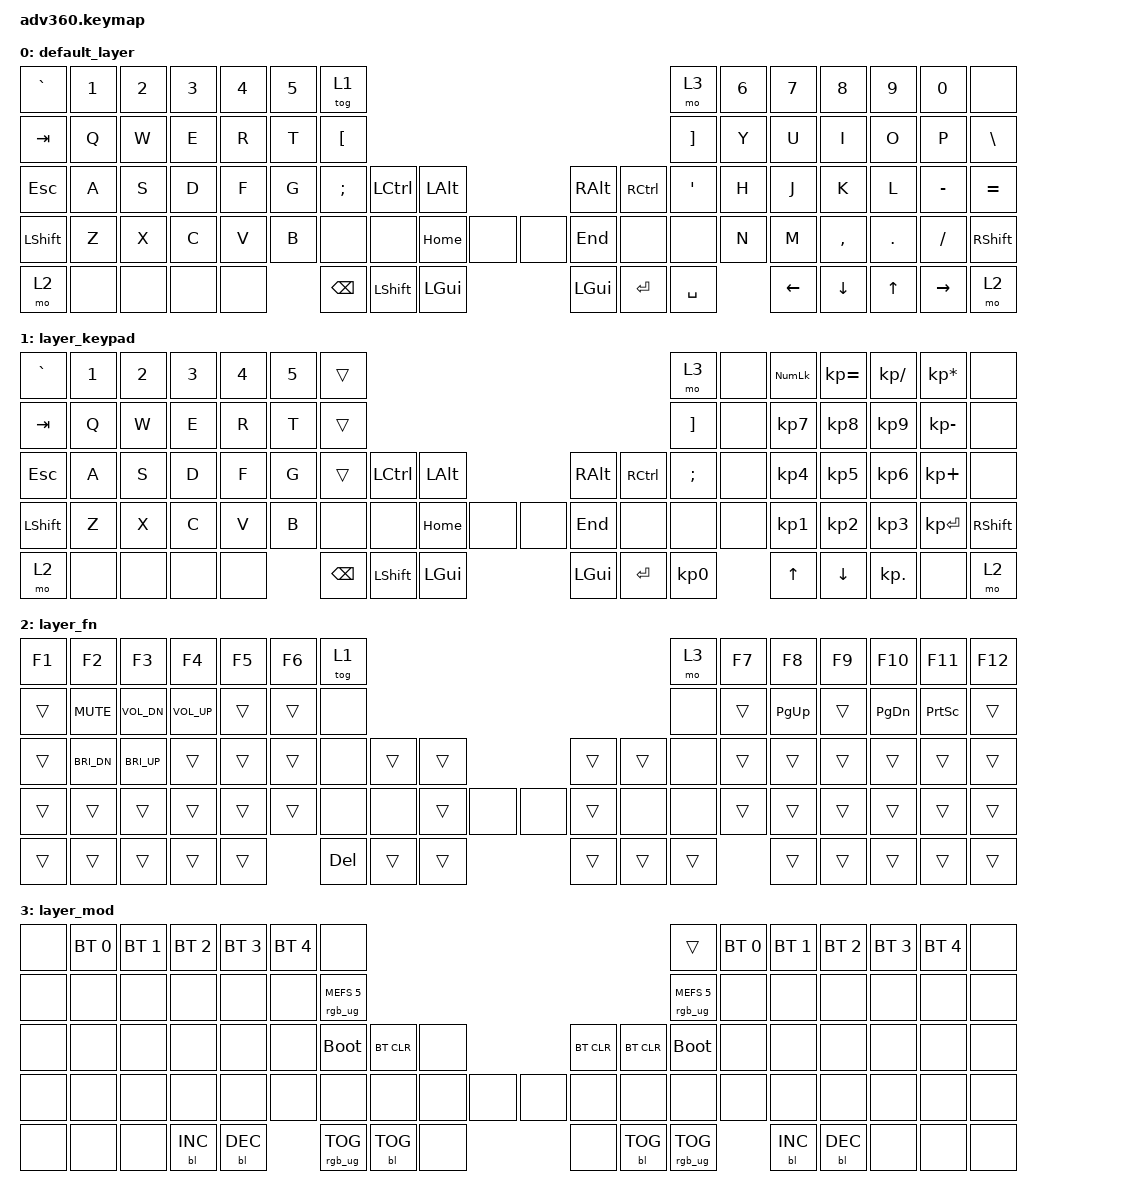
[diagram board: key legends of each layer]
#include <behaviors.dtsi>
#include <dt-bindings/zmk/keys.h>
#include <dt-bindings/zmk/bt.h>
#include <dt-bindings/zmk/rgb.h>
#include <dt-bindings/zmk/backlight.h>

/ {
  behaviors {
    #include "macros.dtsi"

    hm: homerow_mods {
        compatible = "zmk,behavior-hold-tap";
        label = "HOMEROW_MODS";
        #binding-cells = <2>;
        tapping-term-ms = <200>;
        quick_tap_ms = <175>;
        flavor = "tap-preferred";
        bindings = <&kp>, <&kp>;
    };
  };

    keymap {
        compatible = "zmk,keymap";


        default_layer {
            bindings = <
              &kp GRAVE &kp N1 &kp N2 &kp N3 &kp N4 &kp N5 &tog 1                                                                                 &mo 3             &kp N6 &kp N7   &kp N8    &kp N9  &kp N0    &none
              &kp TAB   &kp Q  &kp W  &kp E  &kp R  &kp T  &kp LEFT_BRACKET                                                                       &kp RIGHT_BRACKET &kp Y  &kp U    &kp I     &kp O   &kp P     &kp BSLH
              &kp ESC   &kp A  &kp S  &kp D  &kp F  &kp G  &kp SEMI                  &kp LCTRL  &kp LALT             &kp RALT &kp RCTRL           &kp SQT           &kp H  &kp J    &kp K     &kp L   &kp MINUS &kp EQUAL
              &kp LSHFT &kp Z  &kp X  &kp C  &kp V  &kp B                   &none    &none      &kp HOME &none &none &kp END  &none     &none                       &kp N  &kp M    &kp COMMA &kp DOT &kp FSLH  &kp RSHFT
              &mo 2     &none  &none  &none  &none                          &kp BSPC &kp LSHIFT &kp LGUI             &kp LGUI &kp ENTER &kp SPACE                          &kp LEFT &kp DOWN  &kp UP  &kp RIGHT &mo 2
            >;
        };

        layer_keypad {
            bindings = <
              &kp GRAVE &kp N1 &kp N2 &kp N3 &kp N4 &kp N5 &trans                                                                       &mo 3             &none  &kp KP_NUM &kp KP_EQUAL &kp KP_DIVIDE &kp KP_MULTIPLY &none
              &kp TAB   &kp Q  &kp W  &kp E  &kp R  &kp T  &trans                                                                       &kp RIGHT_BRACKET &none  &kp KP_N7  &kp KP_N8    &kp KP_N9     &kp KP_MINUS    &none
              &kp ESC   &kp A  &kp S  &kp D  &kp F  &kp G  &trans          &kp LCTRL  &kp LALT             &kp RALT &kp RCTRL           &kp SEMI          &none  &kp KP_N4  &kp KP_N5    &kp KP_N6     &kp KP_PLUS     &none
              &kp LSHFT &kp Z  &kp X  &kp C  &kp V  &kp B         &none    &none      &kp HOME &none &none &kp END  &none     &none                       &none  &kp KP_N1  &kp KP_N2    &kp KP_N3     &kp KP_ENTER    &kp RSHFT
              &mo 2     &none  &none  &none  &none                &kp BSPC &kp LSHIFT &kp LGUI             &kp LGUI &kp ENTER &kp KP_N0                          &kp UP     &kp DOWN     &kp KP_DOT    &none           &mo 2
            >;
        };

        layer_fn {
            bindings = <
              &kp F1 &kp F2       &kp F3       &kp F4       &kp F5 &kp F6 &tog 1                                                        &mo 3 &kp F7 &kp F8      &kp F9 &kp F10       &kp F11         &kp F12
              &trans &kp C_MUTE   &kp C_VOL_DN &kp C_VOL_UP &trans &trans &none                                                         &none &trans &kp PAGE_UP &trans &kp PAGE_DOWN &kp PRINTSCREEN &trans
              &trans &kp C_BRI_DN &kp C_BRI_UP &trans       &trans &trans &none          &trans &trans             &trans &trans        &none &trans &trans      &trans &trans        &trans          &trans
              &trans &trans       &trans       &trans       &trans &trans        &none   &none  &trans &none &none &trans &none  &none        &trans &trans      &trans &trans        &trans          &trans
              &trans &trans       &trans       &trans       &trans               &kp DEL &trans &trans             &trans &trans &trans              &trans      &trans &trans        &trans          &trans
            >;
        };

        layer_mod {
            bindings = <
              &none &bt BT_SEL 0 &bt BT_SEL 1 &bt BT_SEL 2 &bt BT_SEL 3 &bt BT_SEL 4 &none                                                                                                     &trans                 &bt BT_SEL 0 &bt BT_SEL 1 &bt BT_SEL 2 &bt BT_SEL 3 &bt BT_SEL 4 &none
              &none &none        &none        &none        &none        &none        &rgb_ug RGB_MEFS_CMD 5                                                                                    &rgb_ug RGB_MEFS_CMD 5 &none        &none        &none        &none        &none        &none
              &none &none        &none        &none        &none        &none        &bootloader                            &bt BT_CLR &none             &bt BT_CLR &bt BT_CLR                 &bootloader            &none        &none        &none        &none        &none        &none
              &none &none        &none        &none        &none        &none                               &none           &none      &none &none &none &none      &none      &none                                  &none        &none        &none        &none        &none        &none
              &none &none        &none        &bl BL_INC   &bl BL_DEC                                       &rgb_ug RGB_TOG &bl BL_TOG &none             &none      &bl BL_TOG &rgb_ug RGB_TOG                                     &bl BL_INC   &bl BL_DEC   &none        &none        &none
            >;
        };

    };
};
